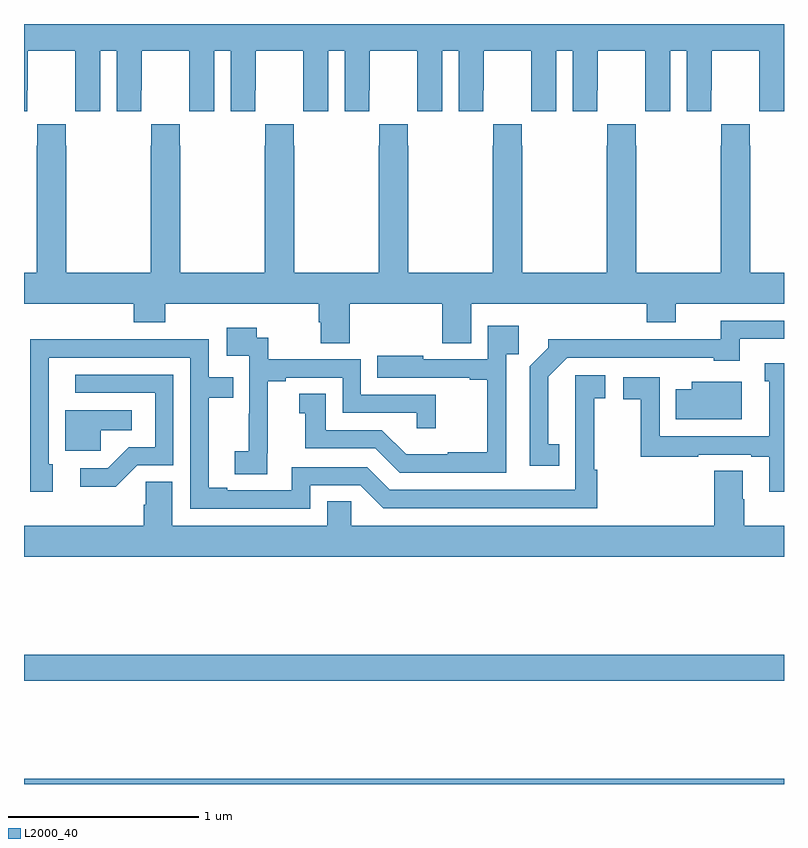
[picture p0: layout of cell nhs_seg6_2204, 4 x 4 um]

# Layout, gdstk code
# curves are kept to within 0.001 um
import gdstk
lib = gdstk.Library(unit=1e-6, precision=1e-09)
def R(c, l, rs):  # rectangles x0, y0, x1, y1
    for r in rs: c.add(gdstk.rectangle(r[:2], r[2:], *l))
def P(c, l, *ps):  # polygons
    for p in ps: c.add(gdstk.Polygon(p, *l))
L2000_40 = (2000, 40)

nhs_seg6_2204 = lib.new_cell('nhs_seg6_2204')
R(nhs_seg6_2204, L2000_40, [(243,919.5,247,919.528), (243,920.044,247,920.18)])
P(nhs_seg6_2204, L2000_40, [(244,923.36),(244.088,923.36),(244.088,923.04),(244.218,923.04),(244.218,923.152),(244.219,923.152),(244.219,923.36),(244.469,923.36),(244.469,923.152),(244.47,923.152),(244.47,923.04),(244.6,923.04),(244.6,923.36),(244.688,923.36),(244.688,923.04),(244.818,923.04),(244.818,923.152),(244.819,923.152),(244.819,923.36),(245.069,923.36),(245.069,923.152),(245.07,923.152),(245.07,923.04),(245.2,923.04),(245.2,923.36),(245.288,923.36),(245.288,923.04),(245.418,923.04),(245.418,923.152),(245.419,923.152),(245.419,923.36),(245.669,923.36),(245.669,923.152),(245.67,923.152),(245.67,923.04),(245.8,923.04),(245.8,923.36),(245.888,923.36),(245.888,923.04),(246.018,923.04),(246.018,923.152),(246.019,923.152),(246.019,923.36),(246.269,923.36),(246.269,923.152),(246.27,923.152),(246.27,923.04),(246.4,923.04),(246.4,923.36),(246.488,923.36),(246.488,923.04),(246.618,923.04),(246.618,923.152),(246.619,923.152),(246.619,923.36),(246.869,923.36),(246.869,923.152),(246.87,923.152),(246.87,923.04),(247,923.04),(247,923.5),(243,923.5),(243,923.04),(243.018,923.04),(243.018,923.152),(243.019,923.152),(243.019,923.36),(243.269,923.36),(243.269,923.152),(243.27,923.152),(243.27,923.04),(243.4,923.04),(243.4,923.36),(243.488,923.36),(243.488,923.04),(243.618,923.04),(243.618,923.152),(243.619,923.152),(243.619,923.36),(243.869,923.36),(243.869,923.152),(243.87,923.152),(243.87,923.04),(244,923.04)],
  [(246.222,922.859),(246.219,922.859),(246.219,922.972),(246.069,922.972),(246.069,922.859),(246.067,922.859),(246.067,922.192),(245.622,922.192),(245.622,922.859),(245.619,922.859),(245.619,922.972),(245.469,922.972),(245.469,922.859),(245.467,922.859),(245.467,922.192),(245.022,922.192),(245.022,922.859),(245.019,922.859),(245.019,922.972),(244.869,922.972),(244.869,922.859),(244.867,922.859),(244.867,922.192),(244.422,922.192),(244.422,922.859),(244.419,922.859),(244.419,922.972),(244.269,922.972),(244.269,922.859),(244.267,922.859),(244.267,922.192),(243.822,922.192),(243.822,922.859),(243.819,922.859),(243.819,922.972),(243.669,922.972),(243.669,922.859),(243.667,922.859),(243.667,922.192),(243.222,922.192),(243.222,922.859),(243.219,922.859),(243.219,922.972),(243.069,922.972),(243.069,922.859),(243.067,922.859),(243.067,922.192),(243,922.192),(243,922.028),(243.578,922.028),(243.578,921.929),(243.743,921.929),(243.743,922.028),(244.55,922.028),(244.55,921.93),(244.562,921.93),(244.562,921.82),(244.715,921.82),(244.715,922.028),(245.201,922.028),(245.201,921.82),(245.353,921.82),(245.353,922.028),(246.278,922.028),(246.278,921.929),(246.43,921.929),(246.43,922.028),(247,922.028),(247,922.192),(246.822,922.192),(246.822,922.859),(246.819,922.859),(246.819,922.972),(246.669,922.972),(246.669,922.859),(246.667,922.859),(246.667,922.192),(246.222,922.192)],
  [(245.816,921.287),(245.758,921.287),(245.758,921.643),(245.859,921.744),(246.63,921.744),(246.63,921.728),(246.766,921.728),(246.766,921.843),(247,921.843),(247,921.939),(246.667,921.939),(246.667,921.84),(246.194,921.84),(246.194,921.842),(245.76,921.842),(245.76,921.797),(245.661,921.698),(245.661,921.174),(245.816,921.174)],
  [(245.538,921.761),(245.603,921.761),(245.603,921.913),(245.442,921.913),(245.442,921.735),(245.101,921.735),(245.101,921.754),(244.858,921.754),(244.858,921.639),(245.345,921.639),(245.345,921.627),(245.437,921.627),(245.437,921.247),(245.231,921.247),(245.231,921.235),(245.012,921.235),(244.884,921.363),(244.588,921.363),(244.588,921.554),(244.448,921.554),(244.448,921.451),(244.481,921.451),(244.481,921.267),(244.848,921.267),(244.977,921.138),(245.538,921.138)],
  [(244.28,921.241),(244.282,921.241),(244.282,921.619),(244.378,921.619),(244.378,921.639),(244.677,921.639),(244.677,921.453),(245.067,921.453),(245.067,921.372),(245.168,921.372),(245.168,921.549),(244.773,921.549),(244.773,921.735),(244.286,921.735),(244.286,921.849),(244.224,921.849),(244.224,921.901),(244.068,921.901),(244.068,921.753),(244.185,921.753),(244.185,921.449),(244.184,921.449),(244.184,921.252),(244.11,921.252),(244.11,921.13),(244.28,921.13)],
  [(244.506,921.072),(244.77,921.072),(244.89,920.952),(246.017,920.952),(246.017,921.155),(246,921.155),(246,921.531),(246.058,921.531),(246.058,921.652),(245.9,921.652),(245.901,921.048),(244.926,921.048),(244.806,921.168),(244.41,921.168),(244.41,921.045),(244.069,921.045),(244.069,921.06),(243.973,921.06),(243.973,921.534),(244.1,921.534),(244.1,921.642),(243.972,921.642),(243.972,921.84),(243.494,921.84),(243.494,921.842),(243.032,921.842),(243.033,921.039),(243.151,921.039),(243.151,921.183),(243.129,921.183),(243.129,921.744),(243.876,921.744),(243.876,920.949),(244.506,920.949)],
  [(247,921.715),(246.899,921.715),(246.899,921.621),(246.923,921.621),(246.923,921.33),(246.345,921.33),(246.345,921.642),(246.153,921.642),(246.153,921.526),(246.247,921.526),(246.247,921.222),(246.548,921.222),(246.548,921.234),(246.827,921.234),(246.827,921.222),(246.923,921.222),(246.923,921.039),(247,921.039)],
  [(243.597,921.177),(243.786,921.177),(243.786,921.654),(243.27,921.654),(243.27,921.558),(243.69,921.558),(243.69,921.273),(243.552,921.273),(243.441,921.162),(243.297,921.162),(243.297,921.065),(243.484,921.065)],
  [(246.778,921.616),(246.515,921.616),(246.515,921.577),(246.43,921.577),(246.43,921.419),(246.778,921.419)],
  [(243.405,921.362),(243.568,921.362),(243.568,921.466),(243.218,921.466),(243.218,921.255),(243.405,921.255)],
  [(247,920.86),(246.792,920.86),(246.792,920.999),(246.784,920.999),(246.784,921.149),(246.632,921.149),(246.632,920.86),(244.722,920.86),(244.722,920.987),(244.595,920.987),(244.595,920.86),(243.781,920.86),(243.781,921.092),(243.642,921.092),(243.642,920.969),(243.629,920.969),(243.629,920.86),(243,920.86),(243,920.696),(247,920.696)])

lib.write_gds('nhs_seg6_2204.gds')
